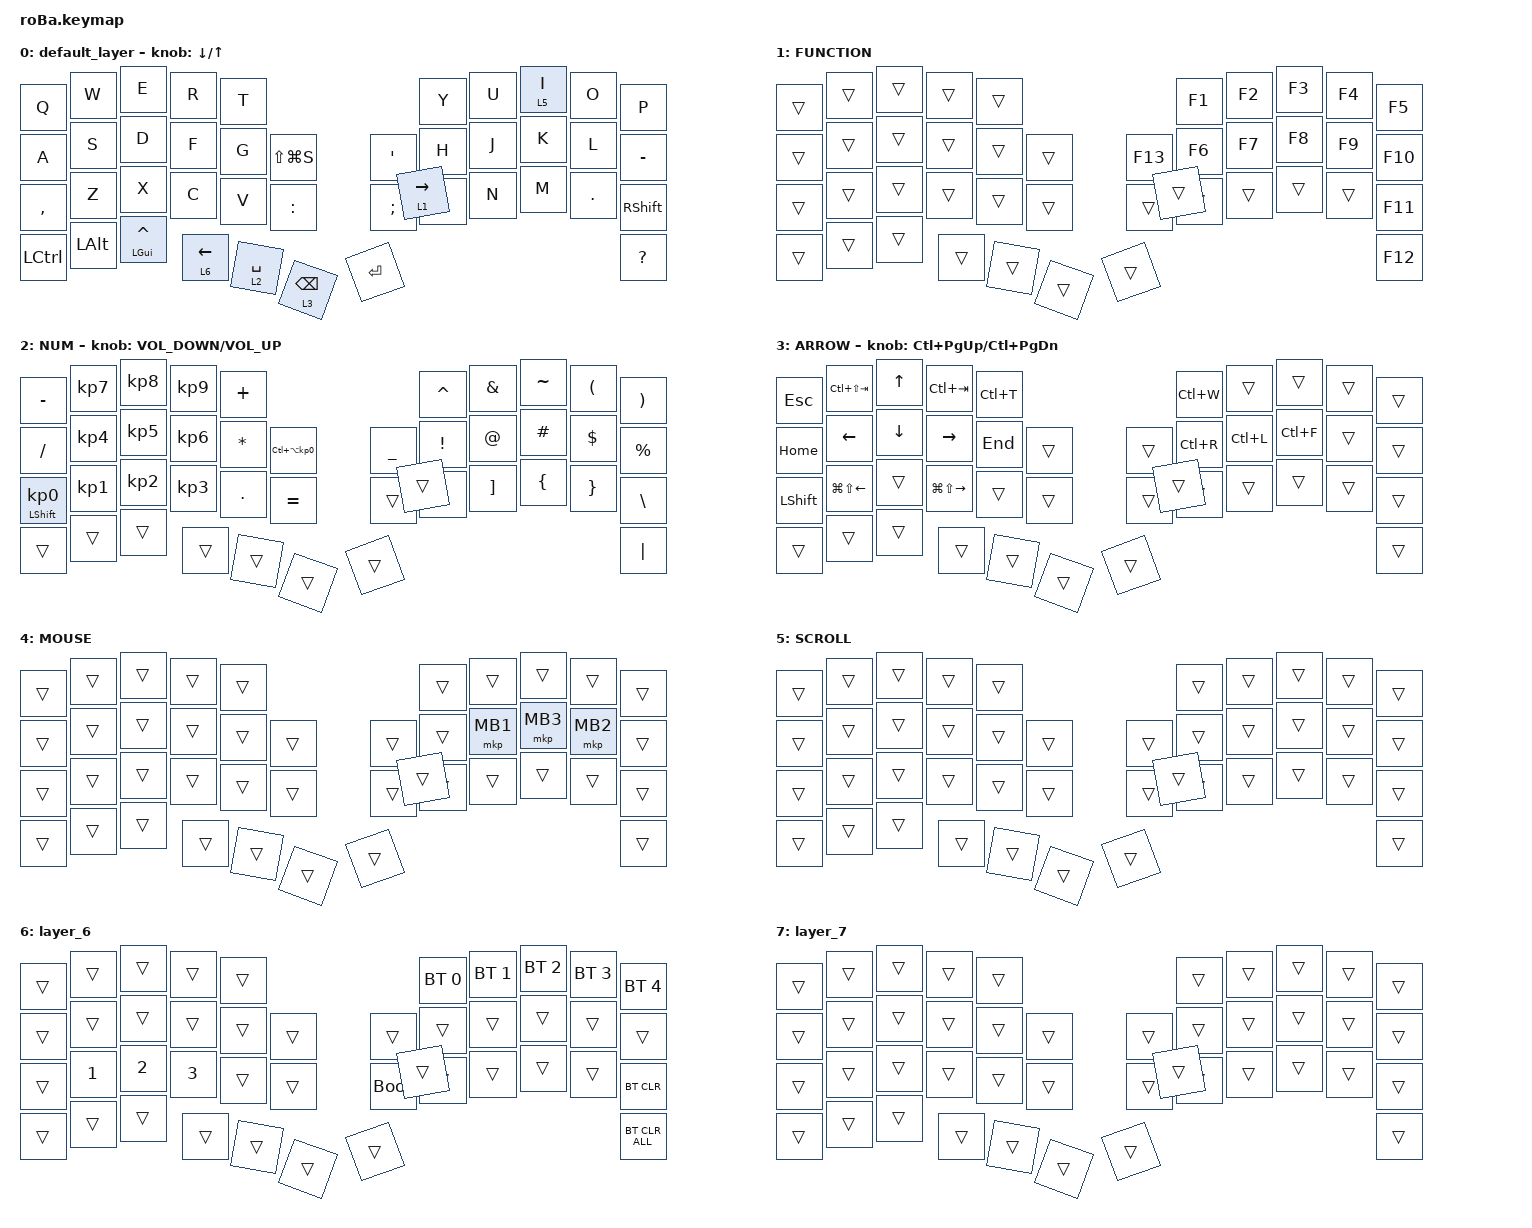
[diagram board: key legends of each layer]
#include <behaviors.dtsi>
#include <dt-bindings/zmk/bt.h>
#include <dt-bindings/zmk/keys.h>
#include <dt-bindings/zmk/pointing.h>

&mt {
    flavor = "balanced";
    quick-tap-ms = <0>;
};

&trackball {
    automouse-layer = <4>;
    scroll-layers = <5>;
};

/ {
    combos {
        compatible = "zmk,combos";

        tab {
            bindings = <&kp TAB>;
            key-positions = <11 12>;
        };

        double_quotation {
            bindings = <&kp DOUBLE_QUOTES>;
            key-positions = <20 21>;
        };

        eq {
            bindings = <&kp EQUAL>;
            key-positions = <24 25>;
        };

        Japanese {
            bindings = <&kp LANG1>;
            key-positions = <18 19>;
        };

        English {
            bindings = <&kp LANG2>;
            key-positions = <13 12>;
        };

        slash {
            bindings = <&kp SLASH>;
            key-positions = <20 19>;
        };
    };

    macros {
        to_layer_0: to_layer_0 {
            compatible = "zmk,behavior-macro-one-param";
            #binding-cells = <1>;
            bindings = <&to 0 &macro_param_1to1 &kp MACRO_PLACEHOLDER>;
            label = "TO_LAYER_0";
        };
    };

    behaviors {
        lt_to_layer_0: lt_to_layer_0 {
            compatible = "zmk,behavior-hold-tap";
            label = "LAYER_TAP_TO_0";
            bindings = <&mo>, <&to_layer_0>;

            #binding-cells = <2>;
            tapping-term-ms = <200>;
        };
    };

    keymap {
        compatible = "zmk,keymap";

        default_layer {
            bindings = < 
&kp Q             &kp W         &kp E           &kp R                  &kp T                                                      &kp Y      &kp U  &lt 5 I  &kp O    &kp P
&kp A             &kp S         &kp D           &kp F                  &kp G        &kp LS(LG(S))             &kp SINGLE_QUOTE    &kp H      &kp J  &kp K    &kp L    &kp MINUS
&kp COMMA         &kp Z         &kp X           &kp C                  &kp V        &kp COLON                 &kp SEMICOLON       &kp B      &kp N  &kp M    &kp DOT  &kp RIGHT_SHIFT
&kp LEFT_CONTROL  &kp LEFT_ALT  &mt LGUI CARET  &lt_to_layer_0 6 LEFT  &lt 2 SPACE  &lt_to_layer_0 3 BACKSPACE  &kp ENTER         &lt 1 RIGHT                         &kp QUESTION
            >;

            sensor-bindings = <&inc_dec_kp DOWN_ARROW UP_ARROW>;
        };

        FUNCTION {
            bindings = < 
&trans  &trans  &trans  &trans  &trans                       &kp F1  &kp F2  &kp F3  &kp F4  &kp F5
&trans  &trans  &trans  &trans  &trans  &trans      &kp F13  &kp F6  &kp F7  &kp F8  &kp F9  &kp F10
&trans  &trans  &trans  &trans  &trans  &trans      &trans   &trans  &trans  &trans  &trans  &kp F11
&trans  &trans  &trans  &trans  &trans  &trans      &trans   &trans                          &kp F12
            >;
        };

        NUM {
            bindings = < 
&kp MINUS                   &kp KP_NUMBER_7  &kp KP_NUMBER_8  &kp KP_NUMBER_9  &kp PLUS                                                   &kp CARET         &kp AMPERSAND      &kp TILDE       &kp LEFT_PARENTHESIS  &kp RIGHT_PARENTHESIS
&kp SLASH                   &kp KP_NUMBER_4  &kp KP_NUMBER_5  &kp KP_NUMBER_6  &kp ASTERISK  &kp LC(LA(KP_NUMBER_0))      &kp UNDERSCORE  &kp EXCLAMATION   &kp AT_SIGN        &kp HASH        &kp DOLLAR            &kp PERCENT
&mt LEFT_SHIFT KP_NUMBER_0  &kp KP_NUMBER_1  &kp KP_NUMBER_2  &kp KP_NUMBER_3  &kp PERIOD    &kp EQUAL                    &trans          &kp LEFT_BRACKET  &kp RIGHT_BRACKET  &kp LEFT_BRACE  &kp RIGHT_BRACE       &kp BACKSLASH
&trans                      &trans           &trans           &trans           &trans        &trans                       &trans          &trans                                                                     &kp PIPE
            >;

            sensor-bindings = <&inc_dec_kp K_VOLUME_DOWN K_VOLUME_UP>;
        };

        ARROW {
            bindings = < 
&kp ESCAPE      &kp LC(LS(TAB))         &kp UP_ARROW    &kp LC(TAB)              &kp LC(T)                      &kp LC(W)   &trans      &trans      &trans  &trans
&kp HOME        &kp LEFT_ARROW          &kp DOWN_ARROW  &kp RIGHT_ARROW          &kp END    &trans      &trans   &kp LC(R)   &kp LC(L)   &kp LC(F)   &trans  &trans
&kp LEFT_SHIFT  &kp LG(LS(LEFT_ARROW))  &trans          &kp LG(LS(RIGHT_ARROW))  &trans     &trans      &trans   &trans      &trans      &trans      &trans  &trans
&trans          &trans                  &trans          &trans                   &trans     &trans      &trans   &trans                                      &trans
            >;

            sensor-bindings = <&inc_dec_kp LC(PAGE_UP) LC(PAGE_DOWN)>;
        };

        MOUSE {
            bindings = <
&trans  &trans  &trans  &trans  &trans                      &trans  &trans    &trans    &trans    &trans
&trans  &trans  &trans  &trans  &trans  &trans      &trans  &trans  &mkp MB1  &mkp MB3  &mkp MB2  &trans
&trans  &trans  &trans  &trans  &trans  &trans      &trans  &trans  &trans    &trans    &trans    &trans
&trans  &trans  &trans  &trans  &trans  &trans      &trans  &trans                                &trans
            >;
        };

        SCROLL {
            bindings = < 
&trans  &trans  &trans  &trans  &trans                      &trans  &trans  &trans  &trans  &trans
&trans  &trans  &trans  &trans  &trans  &trans      &trans  &trans  &trans  &trans  &trans  &trans
&trans  &trans  &trans  &trans  &trans  &trans      &trans  &trans  &trans  &trans  &trans  &trans
&trans  &trans  &trans  &trans  &trans  &trans      &trans  &trans                          &trans
            >;
        };

        layer_6 {
            bindings = < 
&trans  &trans        &trans        &trans        &trans                           &bt BT_SEL 0  &bt BT_SEL 1  &bt BT_SEL 2  &bt BT_SEL 3  &bt BT_SEL 4
&trans  &trans        &trans        &trans        &trans  &trans      &trans       &trans        &trans        &trans        &trans        &trans
&trans  &kp NUMBER_1  &kp NUMBER_2  &kp NUMBER_3  &trans  &trans      &bootloader  &trans        &trans        &trans        &trans        &bt BT_CLR
&trans  &trans        &trans        &trans        &trans  &trans      &trans       &trans                                                  &bt BT_CLR_ALL
            >;
        };

        layer_7 {
            bindings = < 
&trans  &trans  &trans  &trans  &trans                      &trans  &trans  &trans  &trans  &trans
&trans  &trans  &trans  &trans  &trans  &trans      &trans  &trans  &trans  &trans  &trans  &trans
&trans  &trans  &trans  &trans  &trans  &trans      &trans  &trans  &trans  &trans  &trans  &trans
&trans  &trans  &trans  &trans  &trans  &trans      &trans  &trans                          &trans
            >;
        };
    };
};
